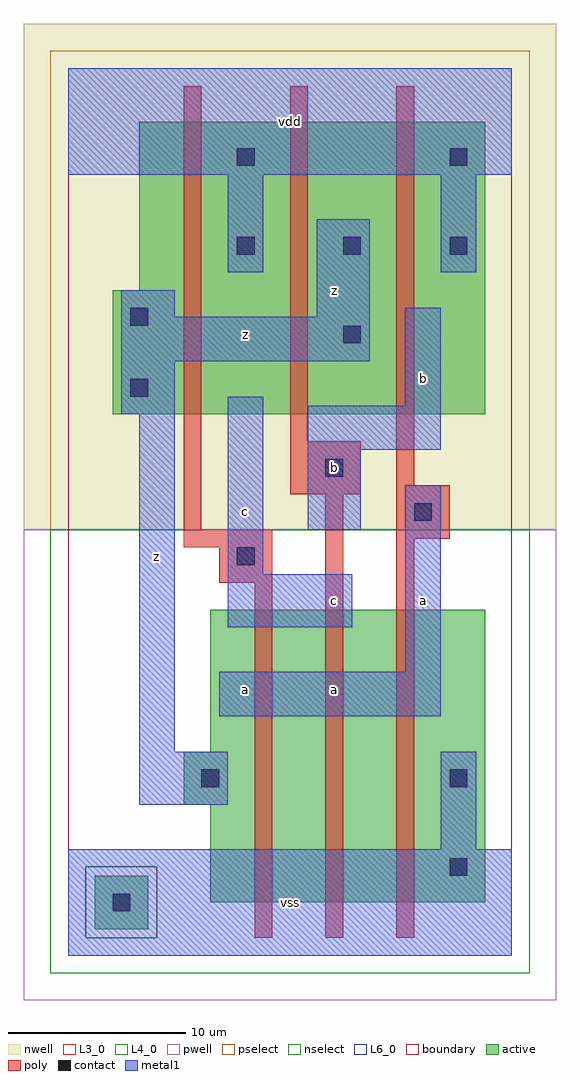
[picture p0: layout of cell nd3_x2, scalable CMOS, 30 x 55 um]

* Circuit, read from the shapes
.subckt nd3_x2 a b c vdd vss z
M1 n1 c z vss nfet w=16.5u l=1u
M2 n2 b n1 vss nfet w=16.5u l=1u
M3 vss a n2 vss nfet w=16.5u l=1u
M4 vdd c z n3 pfet w=16.5u l=1u
M5 z b vdd n3 pfet w=16.5u l=1u
M6 vdd a z n3 pfet w=16.5u l=1u
.ends

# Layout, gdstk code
import gdstk
lib = gdstk.Library(unit=1e-6, precision=1e-09)
def R(c, l, rs):  # rectangles x0, y0, x1, y1
    for r in rs: c.add(gdstk.rectangle(r[:2], r[2:], *l))
def A(c, l, x, y, w, h, nx, ny, dx, dy):  # array of equal rectangles
    R(c, l, [(x+i*dx, y+j*dy, x+i*dx+w, y+j*dy+h) for i in range(nx) for j in range(ny)])
L3_0 = (3, 0)
L4_0 = (4, 0)
L6_0 = (6, 0)
contact = (25, 0)
pwell = (41, 0)
nwell = (42, 0)
active = (43, 0)
pselect = (44, 0)
nselect = (45, 0)
poly = (46, 0)
metal1 = (49, 0)
boundary = (63, 0)

nd3_x2 = lib.new_cell('nd3_x2')
R(nd3_x2, L3_0, [(8,3,23.5,8.5), (6.5,8.5,23.5,11.5), (8,11.5,23.5,19.5)])
R(nd3_x2, L4_0, [(2.5,30.5,23.5,37.5), (4,37.5,23.5,47)])
R(nd3_x2, L6_0, [(1.5,1.5,4.5,4.5)])
A(nd3_x2, contact, 9.5, 39.5, 1, 1, 3, 1, 6, 0)
R(nd3_x2, contact, [(2.5,2.5,3.5,3.5), (21.5,4.5,22.5,5.5), (7.5,9.5,8.5,10.5), (21.5,9.5,22.5,10.5), (9.5,22,10.5,23), (19.5,24.5,20.5,25.5), (14.5,27,15.5,28), (3.5,31.5,4.5,32.5), (15.5,34.5,16.5,35.5), (3.5,35.5,4.5,36.5), (9.5,44.5,10.5,45.5), (21.5,44.5,22.5,45.5)])
R(nd3_x2, pwell, [(-2.5,-2.5,27.5,24)])
R(nd3_x2, nwell, [(-2.5,24,27.5,52.5)])
R(nd3_x2, active, [(1.5,1.5,4.5,4.5), (8,3,23.5,8.5), (6.5,8.5,23.5,11.5), (8,11.5,23.5,19.5), (2.5,30.5,23.5,37.5), (4,37.5,23.5,47)])
R(nd3_x2, pselect, [(1,1,5,5), (-1,24,26,51)])
R(nd3_x2, nselect, [(-1,-1,26,1), (-1,1,1,5), (5,1,26,5), (-1,5,26,24)])
R(nd3_x2, poly, [(10.5,1,11.5,21), (14.5,1,15.5,26), (18.5,1,19.5,23.5), (8.5,21,11.5,23), (6.5,23,11.5,24), (18.5,23.5,21.5,26.5), (6.5,24,7.5,49), (12.5,26,16.5,29), (18.5,26.5,19.5,49), (12.5,29,13.5,49)])
R(nd3_x2, metal1, [(0,0,25,6), (0,0,25,6), (21,6,23,11.5), (21,6,23,11.5), (4,8.5,9,11.5), (4,8.5,9,11.5), (4,11.5,6,30.5), (4,11.5,6,30.5), (8.5,13.5,21,16), (8.5,13.5,21,16), (19,16,21,26.5), (19,16,21,26.5), (9,18.5,16,21.5), (9,18.5,16,21.5), (9,21.5,11,31.5), (9,21.5,11,31.5), (13.5,24,16.5,28.5), (13.5,24,16.5,28.5), (13.5,28.5,21,31), (13.5,28.5,21,31), (3,30.5,6,33.5), (3,30.5,6,33.5), (19,31,21,36.5), (19,31,21,36.5), (3,33.5,17,36), (3,33.5,17,36), (3,36,6,37.5), (3,36,6,37.5), (14,36,17,41.5), (14,36,17,41.5), (9,38.5,11,44), (9,38.5,11,44), (21,38.5,23,44), (21,38.5,23,44), (0,44,25,50), (0,44,25,50)])
R(nd3_x2, boundary, [(0,0,25,50)])
nd3_x2.add(gdstk.Label('z', (5,22.5), layer=49, texttype=0))
nd3_x2.add(gdstk.Label('a', (10,15), layer=49, texttype=0))
nd3_x2.add(gdstk.Label('c', (10,25), layer=49, texttype=0))
nd3_x2.add(gdstk.Label('z', (10,35), layer=49, texttype=0))
nd3_x2.add(gdstk.Label('vss', (12.5,3), layer=49, texttype=0))
nd3_x2.add(gdstk.Label('c', (15,20), layer=49, texttype=0))
nd3_x2.add(gdstk.Label('a', (15,15), layer=49, texttype=0))
nd3_x2.add(gdstk.Label('b', (15,27.5), layer=49, texttype=0))
nd3_x2.add(gdstk.Label('z', (15,37.5), layer=49, texttype=0))
nd3_x2.add(gdstk.Label('vdd', (12.5,47), layer=49, texttype=0))
nd3_x2.add(gdstk.Label('a', (20,20), layer=49, texttype=0))
nd3_x2.add(gdstk.Label('b', (20,32.5), layer=49, texttype=0))

lib.write_gds('nd3_x2.gds')
